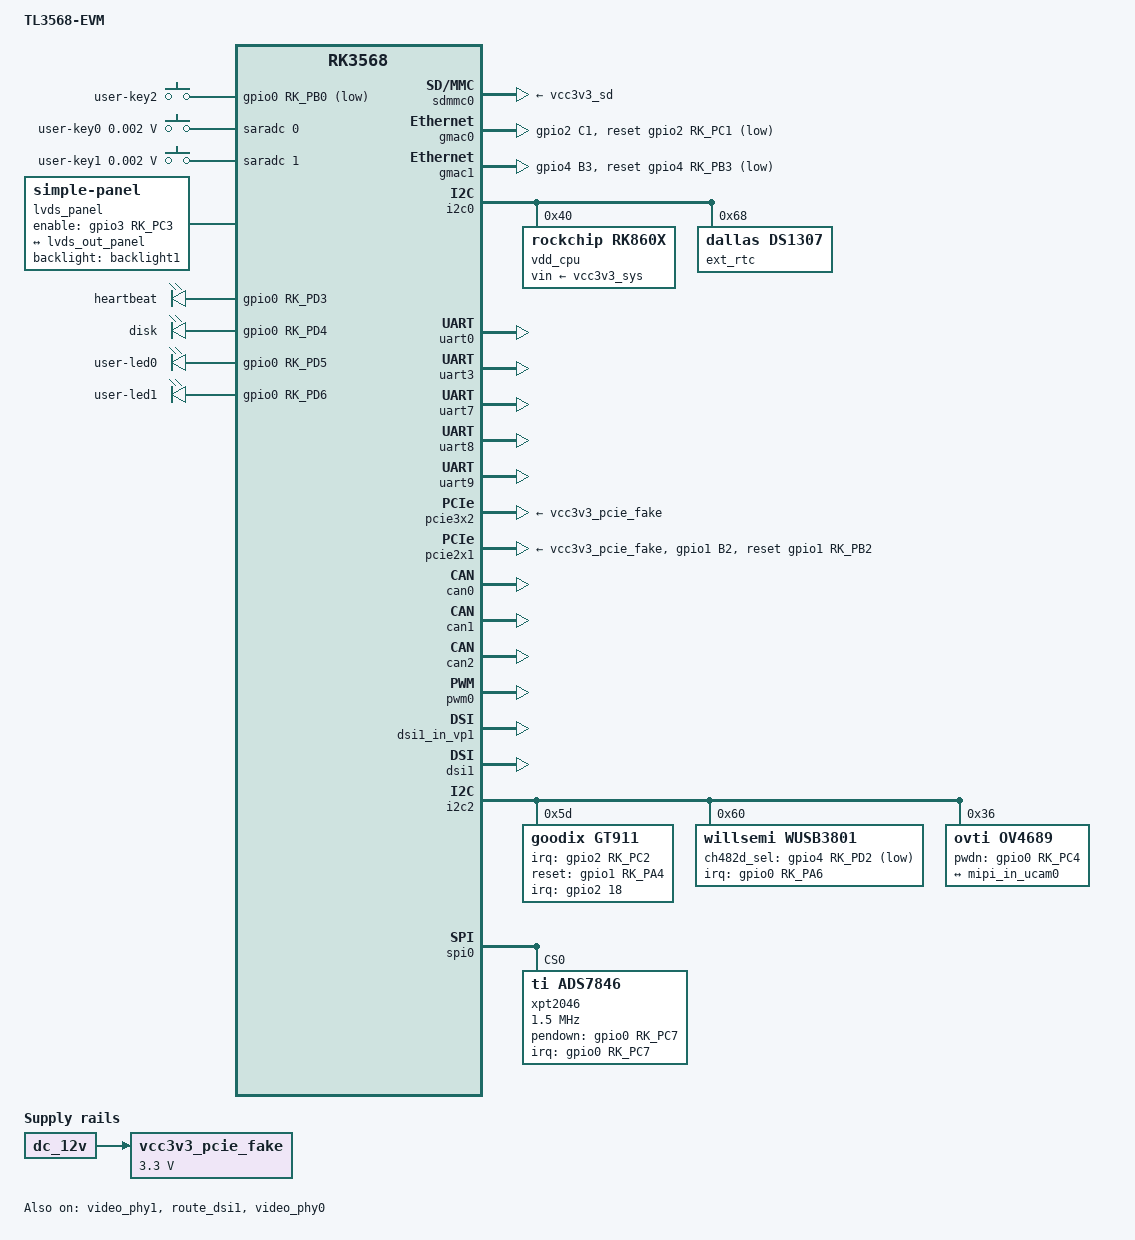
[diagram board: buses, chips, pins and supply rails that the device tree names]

#include "rk3568-evb1-ddr4-v10-linux.dts"
#include "rk3568-amp.dtsi"
#include <dt-bindings/display/media-bus-format.h>

/ {
	model = "TL3568-EVM";

	fiq-debugger {
		compatible = "rockchip,fiq-debugger";
		rockchip,serial-id = <2>;
		rockchip,wake-irq = <0>;

		rockchip,irq-mode-enable = <1>;
		rockchip,baudrate = <1500000>;
 	};

	/delete-node/ gpio-regulator;
	vcc3v3_pcie_fake: vcc3v3-pcie-fake {
		compatible = "regulator-fixed";
		regulator-name = "vcc3v3_pcie_fake";
		regulator-always-on;
		regulator-boot-on;
		regulator-min-microvolt = <3300000>;
		regulator-max-microvolt = <3300000>;
		vin-supply = <&dc_12v>;
	};

	gpio-keys {
		compatible = "gpio-keys";
		autorepeat;
		pinctrl-names = "default";
		pinctrl-0 = <&user_gpio_key0_pin>;

		user_key@2 {
			label = "user-key2";
			linux,code = <KEY_PROG1>;
			gpios = <&gpio0 RK_PB0 GPIO_ACTIVE_LOW>;
			debounce-interval = <0>;
		};
	};

	/delete-node/ adc-keys;
	adc-key0 {
		compatible = "adc-keys";
		io-channels = <&saradc 0>;
		io-channel-names = "buttons";
		keyup-threshold-microvolt = <1800000>;
		poll-interval = <100>;

		user_key@0 {
			label = "user-key0";
			linux,code = <KEY_PROG1>;
			press-threshold-microvolt = <1750>;
		};
	};

	adc-key1 {
		compatible = "adc-keys";
		io-channels = <&saradc 1>;
		io-channel-names = "buttons";
		keyup-threshold-microvolt = <1800000>;
		poll-interval = <100>;

		user_key@1 {
			label = "user-key1";
			linux,code = <KEY_PROG1>;
			press-threshold-microvolt = <1750>;
		};
	};

	lvds_panel: lvds-panel {
		status = "okay";
		compatible = "simple-panel";
		backlight = <&backlight1>;
		reset-delay-ms = <60>;
		enable-delay-ms = <60>;
		prepare-delay-ms = <60>;
		unprepare-delay-ms = <60>;
		disable-delay-ms = <60>;
		bus-format = <MEDIA_BUS_FMT_RGB888_1X24>;

		pinctrl-names = "default";
		pinctrl-0 = <&lvds_panel_enable>;
		enable-gpios = <&gpio3 RK_PC3 GPIO_ACTIVE_HIGH>;

		width-mm = <210>;
		height-mm = <157>;

		display-timings {
			native-mode = <&lvds_timing0>;
			lvds_timing0: lvds-timing0 {
				clock-frequency = <66000000>;
				hactive = <1024>;
				vactive = <768>;
				hback-porch = <160>;
				hfront-porch = <160>;
				hsync-len = <2>;
				vback-porch = <19>;
				vfront-porch = <19>;
				vsync-len = <2>;
				hsync-active = <1>;
				vsync-active = <1>;
				de-active = <1>;
				pixelclk-active = <0>;
			};
		};

		ports {
			#address-cells = <1>;
			#size-cells = <0>;

			port@0 {
				reg = <0>;
				panel_in_lvds: endpoint {
					remote-endpoint = <&lvds_out_panel>;
				};
			};
		};
	};

	/delete-node/ spdif-sound;
	/delete-node/ spdif-out;

	/* TFT-LCD */
	tft_lcd_panel: tft-lcd-panel {
		status = "disabled";
		compatible = "simple-panel";
		bus-format = <MEDIA_BUS_FMT_RGB888_1X24>;

		display-timings {
			native-mode = <&rgb_timing0>;

			rgb_timing0: rgb-timing0 {
				clock-frequency = <33000000>;
				hactive = <800>;
				vactive = <480>;
				hfront-porch = <210>;
				hsync-len = <30>;
				hback-porch = <16>;
				vfront-porch = <22>;
				vsync-len = <13>;
				vback-porch = <10>;
				hsync-active = <0>;
				vsync-active = <0>;
				de-active = <1>;
				pixelclk-active = <1>;
			};
		};

		port {
			panel_in_rgb: endpoint {
				remote-endpoint = <&rgb_out_panel>;
			};
		};
	};

	edp_panel: edp-panel {
		status = "disabled";
		compatible = "simple-panel";
		bus-format = <MEDIA_BUS_FMT_RGB888_1X24>;
		bpc = <8>;

		display-timings {
			native-mode = <&edp_timing0>;

			edp_timing0: edp-timing0 {
				clock-frequency = <264300000>;
				hactive = <2560>;
				vactive = <1600>;
				hfront-porch = <24>;
				hsync-len = <35>;
				hback-porch = <59>;
				vfront-porch = <3>;
				vsync-len = <6>;
				vback-porch = <49>;
				hsync-active = <0>;
				vsync-active = <1>;
				de-active = <1>;
				pixelclk-active = <1>;
			};
		};

		port {
			panel_in_edp: endpoint {
				remote-endpoint = <&edp_out_panel>;
			};
		};
	};
};

&vop {
    assigned-clocks = <&cru DCLK_VOP0>, <&cru DCLK_VOP1>, <&cru DCLK_VOP2>;
    assigned-clock-parents = <&cru PLL_HPLL>, <&cru PLL_VPLL>, <&cru PLL_GPLL>;
};

&pmu_io_domains {
	/* TL3568-EVM, open pmic sw0/1 */
	vccio4-supply = <&vcc_3v3>;
	vccio5-supply = <&vcc_3v3>;
	vccio6-supply = <&vcc_3v3>;
	vccio7-supply = <&vcc_3v3>;
};

&sdmmc0 {
	vmmc-supply = <&vcc3v3_sd>;
	/delete-property/ sd-uhs-sdr104; /* Do not support SD3.0 first, cause VDD_ADJ_SD ust be 3.3V */
	/delete-property/ no-sdio;
	/delete-property/ no-mmc;
	supports-sd;
};

&rgmii_phy1 {
	reg = <0x1>;
};

&gmac0 {
	snps,reset-gpio = <&gpio2 RK_PC1 GPIO_ACTIVE_LOW>;
	snps,reset-delays-us = <20000 20000 100000>;
	tx_delay = <0x2a>;
	rx_delay = <0x19>;

	/delete-property/ pinctrl-0;
	pinctrl-0 = <&gmac0_miim
		     &gmac0_tx_bus2
		     &gmac0_rx_bus2
		     &gmac0_rgmii_clk
		     &gmac0_rgmii_bus
		     &gmac0_phy0_reset>;
};

&i2c4 {
	/delete-property/ pinctrl-0;
	status = "disabled";
};

&gmac1 {
	snps,reset-gpio = <&gpio4 RK_PB3 GPIO_ACTIVE_LOW>;
	snps,reset-delays-us = <20000 20000 100000>;
	tx_delay = <0x36>;
	rx_delay = <0x12>;

	/delete-property/ pinctrl-0;
	pinctrl-0 = <&gmac1m1_miim
		     &gmac1m1_tx_bus2
		     &gmac1m1_rx_bus2
		     &gmac1m1_rgmii_clk
		     &gmac1m1_rgmii_bus
		     &gmac1_phy0_reset>;
};

&i2c0 {
	/delete-node/ tcs4525@1c;
	vdd_cpu: rk8600@40{
		compatible = "rockchip,rk860x";
		reg = <0x40>;
		vin-supply = <&vcc3v3_sys>;
		regulator-compatible = "rk860x-reg";
		regulator-name = "vdd_cpu";
		regulator-min-microvolt = <712500>;
		regulator-max-microvolt = <1390000>;
		regulator-init-microvolt = <900000>;
		regulator-initial-mode = <1>;
		regulator-ramp-delay = <2300>;
		rockchip,suspend-voltage-selector = <1>;
		regulator-boot-on;
		regulator-always-on;
		regulator-state-mem {
			regulator-off-in-suspend;
		};
	};

	ext_rtc: ds1307@68 {
		compatible = "dallas,ds1307";
		reg = <0x68>;
	};
};

/* flexspi */
&sfc {
	pinctrl-names = "default";
	pinctrl-0 = <&fspi_pins>;
};

&sdio_pwrseq {
	/delete-property/ clocks;
	/delete-property/ clock-names;
	status = "disabled";
};

/* sdio */
&sdmmc2 {
	max-frequency = <50000000>;
	/delete-property/ sd-uhs-sdr104;
	/delete-property/ no-sd;
	/delete-property/ no-mmc;
	supports-sdio;
};

&wifi_host_wake_irq {
	rockchip,pins = <4 RK_PB2 RK_FUNC_GPIO &pcfg_pull_down>;
};

/* sdio wifi io cannot share with 5G module */
&wireless_wlan {
	status = "disabled";
	wifi_chip_type = "rtl8189fs";
	WIFI,host_wake_irq = <&gpio4 RK_PB2 GPIO_ACTIVE_HIGH>;
};

&wireless_bluetooth {
	status = "disabled";
};

&vcc_camera {
	/delete-property/ gpio;
	/delete-property/ pinctrl-names;
	/delete-property/ pinctrl-0;
	/delete-property/ enable-active-high;
};

&uart0 {
	status = "okay";
};

&uart3 {
	status = "okay";
};

&spdif_8ch {
	status = "disabled";
	/delete-property/ pinctrl-names;
	/delete-property/ pinctrl-0;
};

&uart7 {
	status = "okay";
	pinctrl-0 = <&uart7m1_xfer>;
};

&uart8 {
	status = "okay";
	pinctrl-0 = <&uart8m0_xfer>;
};

&uart9 {
	status = "okay";
	pinctrl-0 = <&uart9m1_xfer>;
};

/* gpio1 RK_PA2 is used as i2s1 mclk */
&pcie3x2 {
	/delete-property/ reset-gpios;
	vpcie3v3-supply = <&vcc3v3_pcie_fake>;
};

/* sata2 and pcie2x1 use common phy */
&sata2 {
	status = "disabled";
};

&pcie2x1 {
	reset-gpios = <&gpio1 RK_PB2 GPIO_ACTIVE_HIGH>;
	pinctrl-names = "default";
	pinctrl-0 = <&pcie2x1_reset>;
	vpcie3v3-supply = <&vcc3v3_pcie_fake>;
	status = "okay";
};

/* gpio in vcc3v3_vga is used by user_led0 */
&vcc3v3_vga {
	/delete-property/ gpio;
	/delete-property/ enable-active-high;
};

&leds {
	/delete-node/ work;
	som_led0 {
		label = "heartbeat";
		gpios = <&gpio0 RK_PD3 GPIO_ACTIVE_HIGH>;
		linux,default-trigger = "heartbeat";
		default-state = "off";
	};

	som_led1 {
		label = "disk";
		gpios = <&gpio0 RK_PD4 GPIO_ACTIVE_HIGH>;
		linux,default-trigger = "mmc0";
		default-state = "off";
	};

	user_led0 {
		label = "user-led0";
		gpios = <&gpio0 RK_PD5 GPIO_ACTIVE_HIGH>;
		linux,default-trigger = "default-on";
		default-state = "off";
	};

	user_led1 {
		label = "user-led1";
		gpios = <&gpio0 RK_PD6 GPIO_ACTIVE_HIGH>;
		linux,default-trigger = "default-on";
		default-state = "off";
	};
};

&i2c1 {
	/delete-property/ pinctrl-0;
	status = "disabled";
};

&can0 {
	compatible = "rockchip,rk3568-can-2.0";
	assigned-clock-rates = <200000000>;
	pinctrl-0 = <&can0m0_pins>;
	status = "okay";
};

&can1 {
	compatible = "rockchip,rk3568-can-2.0";
	assigned-clock-rates = <200000000>;
	status = "okay";
};

&can2 {
	compatible = "rockchip,rk3568-can-2.0";
	assigned-clock-rates = <200000000>;
	status = "okay";
};

&pwm0 {
	status = "okay";
};

&edp_in_vp0 {
	status = "disabled";
};

&edp {
	status = "disabled";
	pinctrl-names = "default";
	pinctrl-0 = <&edpdpm0_pins>;
	hpd-gpios = <&gpio4 RK_PC4 GPIO_ACTIVE_HIGH>;

	ports {
		port@1 {
			reg = <1>;

			edp_out_panel: endpoint {
				remote-endpoint = <&panel_in_edp>;
			};
		};
	};
};

/*
 * video_phy0 needs to be enabled
 * when dsi0 is enabled
 */
&dsi0_in_vp0 {
	status = "disabled";
};

&dsi0_in_vp1 {
	status = "disabled";
};

&dsi0 {
	status = "disabled";
};

&dsi0_panel {
	status = "disabled";
};

&backlight {
	status = "disabled";
};

/*
 * video_phy1 needs to be enabled
 * when dsi1 is enabled
 */
&vcc3v3_lcd1_n {
	/delete-property/ enable-active-high;
	/delete-property/ gpio;
};

&dsi1_in_vp0 {
	status = "disabled";
};

&dsi1_in_vp1 {
	status = "okay";
};

&video_phy1 {
	status = "okay";
};

&dsi1 {
	status = "okay";
};

&backlight1 {
	pwms = <&pwm4 0 25000 0>;
};

&route_dsi0 {
	status = "disabled";
};

&route_dsi1 {
	status = "okay";
	connect = <&vp1_out_dsi1>;
};

&dsi1_panel {
	status = "okay";
	pinctrl-names = "default";
	pinctrl-0 = <&dsi1_panel_reset>;
	reset-gpios = <&gpio4 RK_PC1 GPIO_ACTIVE_LOW>;

	/delete-property/ panel-init-sequence;
	panel-init-sequence = [
		05 1E 01 01
		23 00 02 EE 50
		29 00 03 EA 85 55
		23 00 02 30 00
		23 00 02 31 00
		29 00 03 90 50 15
		23 00 02 24 20
		23 00 02 99 00
		23 00 02 79 00
		23 00 02 95 74
		23 00 02 7A 20
		23 00 02 97 09
		23 00 02 7D 08
		23 00 02 56 83
		23 00 02 EE 60
		23 00 02 30 01
		23 00 02 27 22
		23 00 02 31 0F
		23 00 02 32 D9
		23 00 02 33 C0
		23 00 02 34 1F
		23 00 02 35 22
		23 00 02 36 00
		23 00 02 37 00
		23 00 02 3A 24
		23 00 02 3B 00
		23 00 02 3C 1A
		23 00 02 3D 11
		23 00 02 3E 93
		23 00 02 42 64
		23 00 02 43 64
		23 00 02 44 0B
		23 00 02 46 4E
		23 00 02 8B 90
		23 00 02 8D 45
		23 00 02 91 11
		23 00 02 92 11
		23 00 02 93 9F
		23 00 02 9A 00
		23 00 02 9C 80
		29 00 06 47 0F 24 2C 39 36
		29 00 06 5A 0F 24 2C 39 36
		29 00 06 4C 4A 40 51 31 2F
		29 00 06 51 2D 10 25 1F 30
		29 00 05 56 37 46 5B 7F
		29 00 05 69 37 46 5B 7F
		23 00 02 EE 70
		29 00 05 00 03 07 00 01
		29 00 05 04 08 0C 55 01
		29 00 03 0C 05 3D
		29 00 06 10 05 08 00 01 05
		29 00 06 15 00 15 0D 08 00
		29 00 03 29 05 3D
		29 00 06 60 3C 3C 07 05 17
		29 00 06 65 15 13 11 01 03
		29 00 06 6A 3C 3C 3C 3C 3C
		29 00 06 6F 3C 3C 3C 3C 3C
		29 00 03 74 3C 3C
		29 00 06 80 3C 3C 06 04 16
		29 00 06 85 14 12 10 00 02
		29 00 06 8A 3C 3C 3C 3C 3C
		29 00 06 8F 3C 3C 3C 3C 3C
		29 00 03 94 3C 3C
		29 00 03 EA 00 00
		23 00 02 EE 00
		05 78 01 11
		05 1E 01 29
	];
};

&dsi1_timing0 {
	clock-frequency = <72000000>;
	hactive = <800>;
	vactive = <1280>;
	hfront-porch = <98>;
	hsync-len = <20>;
	hback-porch = <22>;
	vfront-porch = <24>;
	vsync-len = <8>;
	vback-porch = <8>;
	hsync-active = <0>;
	vsync-active = <0>;
	de-active = <0>;
	pixelclk-active = <1>;
};

&os04a10 {
	status = "disabled";
};

&ucam_out0 {
	/delete-property/ remote-endpoint;
};

&ov5695 {
	status = "disabled";
};

&i2c2 {
	status = "okay";
	pinctrl-0 = <&i2c2m1_xfer>;

	gt911@5d {
		pinctrl-names = "default";
		pinctrl-0 = <&gt911_int_pin
				&gt911_rst_pin>;

		compatible = "goodix,gt911";
		reg = <0x5d>;
		interrupt-parent = <&gpio2>;
		interrupts = <18 0>;

		irq-gpios = <&gpio2 RK_PC2 0>;
		reset-gpios = <&gpio1 RK_PA4 GPIO_ACTIVE_HIGH>;
	};

	wusb3801: tcpc@60 {
		status = "okay";
		compatible = "willsemi,wusb3801";
		reg = <0x60>;
		pinctrl-names = "default";
		pinctrl-0 = <&wusb3801_int_pin &ch482d_sel_pin>;
		interrupt-parent = <&gpio0>;
		interrupts = <RK_PA6 IRQ_TYPE_LEVEL_LOW>;
		ch482d_sel-gpios = <&gpio4 RK_PD2 GPIO_ACTIVE_LOW>;
	};

	ov4689: ov4689@36 {
		compatible = "ovti,ov4689";
		status = "okay";
		reg = <0x36>;
		clocks = <&pmucru CLK_WIFI>;
		clock-names = "xvclk";
		pinctrl-names = "rockchip,camera_default";
		pinctrl-0 = <&refclk_pins &mipi_cam_pwdn_pins>;
		pwdn-gpios = <&gpio0 RK_PC4 GPIO_ACTIVE_HIGH>;
		rockchip,grf = <&grf>;
		power-domains = <&power RK3568_PD_VI>;
		rockchip,camera-module-index = <0>;
		rockchip,camera-module-facing = "back";
		rockchip,camera-module-name = "RK-CMK-8M-2-v1";
		rockchip,camera-module-lens-name = "CK8401";

		port {
			ov4689_out: endpoint {
				remote-endpoint = <&mipi_in_ucam0>;
				data-lanes = <1 2 3 4>;
			};
		};
	};
};

/* lvds */
&lvds_in_vp2 {
	status = "disabled";
};

&lvds {
	status = "disabled";
	ports {
		port@1 {
			reg = <1>;

			lvds_out_panel: endpoint {
				remote-endpoint = <&panel_in_lvds>;
			};
		};
	};
};

&video_phy0 {
	status = "okay";
};

&route_lvds {
	status = "disabled";
	connect = <&vp2_out_lvds>;
};

&pwm7 {
	status = "disabled";
};

&vcc3v3_lcd0_n {
	/delete-property/ enable-active-high;
	/delete-property/ gpio;
};

/* lvds touch panel driver ic */
&spi0 {
	pinctrl-names = "default";
	pinctrl-0 = <&spi0m0_cs0 &spi0m0_pins>;
	status = "okay";

	xpt2046@0 {
		pinctrl-names = "default";
		pinctrl-0 = <&xpt2046_int_pin>;
		reg = <0>;
		compatible = "ti,ads7846";
		interrupt-parent = <&gpio0>;
		interrupts = <RK_PC7 0>;
		spi-max-frequency = <1500000>;
		pendown-gpio = <&gpio0 RK_PC7 0>;
		ti,x-min = /bits/ 16 <0>;
		ti,x-max = /bits/ 16 <0xfff>;
		ti,y-min = /bits/ 16 <0>;
		ti,y-max = /bits/ 16 <0xfff>;
		ti,x-plate-ohms = /bits/ 16 <180>;
		ti,pressure-max = /bits/ 16 <512>;
		ti,debounce-max = /bits/ 16 <10>;
		ti,debounce-tol = /bits/ 16 <30>;
		ti,debounce-rep = /bits/ 16 <1>;
		ti,settle-delay-usec = /bits/ 16 <150>;
		ti,keep-vref-on = <1>;
		/*
		 * Do not set to wakeup source,
		 * cause TL3568-EVM board will make xpt2046
		 * int pin level change when suspend, this
		 * will auto resume TL3568-EVM board.
		 */
		/delete-property/ linux,wakeup;
		/delete-property/ wakeup-source;
	};
};

/* gpio is used for wusb3801 */
&vcc5v0_host {
       /delete-property/ enable-active-high;
       /delete-property/ gpio;
       /delete-property/ pinctrl-names;
       /delete-property/ pinctrl-0;
};

&rk809_codec {
	pinctrl-0 = <&i2s1m0_mclk>;
	spk-volume = <3>;
	capture-volume = <0>;
};

/* TFT LCD */
&rgb_in_vp2 {
	status = "disabled";
};

&rgb {
	status = "disabled";

	ports {
		port@1 {
			reg = <1>;

			rgb_out_panel: endpoint {
				remote-endpoint = <&panel_in_rgb>;
			};
		};
	};
};

&rk809_sound {
	/delete-property/ simple-audio-card,hp-det-gpio;
};

&mipi_in_ucam0 {
	remote-endpoint = <&ov4689_out>;
};

&sdhci {
	pinctrl-names = "default";
	pinctrl-0 = <&emmc_bus8
			&emmc_cmd
			&emmc_clk>;
	/delete-property/ no-sdio;
	/delete-property/ no-sd;
	supports-emmc;
};

/*
 * Change mipi csi clk pin drv level to level2,
 * this is decided by the hardware engineer.
 */
&refclk_pins {
	rockchip,pins =
		/* refclk_ou */
		<0 RK_PA0 1 &pcfg_pull_up_drv_level_2>;
};

&threshold {
	temperature = <115000>;
};

&target {
	temperature = <115000>;
};

&i2c5 {
	status = "disabled";
	/delete-node/ mxc6655xa@15;
};

&rockchip_amp {
	clocks = <&pmucru SCLK_UART0>, <&pmucru PCLK_UART0>,
		<&cru SCLK_UART7>, <&cru PCLK_UART7>,
		<&cru PCLK_TIMER>, <&cru CLK_TIMER4>, <&cru CLK_TIMER5>,
		<&pmucru PCLK_GPIO0>, <&pmucru DBCLK_GPIO0>;
	clock-names = "uart0_baudclk", "uart0_apb_pclk",
		"uart7_baudclk", "uart7_apb_pclk",
		"pclk", "timer4", "timer5",
		"gpio0_pclk", "gpio0_dbclk";
	assigned-clocks = <&pmucru SCLK_UART0>,
			<&cru SCLK_UART7>,
			<&cru CLK_TIMER4>,
			<&cru CLK_TIMER5>,
			<&pmucru DBCLK_GPIO0>;

	/delete-property/ pinctrl-names;
	/delete-property/ pinctrl-0;

	/delete-node/ amp-cpus;
};

&reserved_memory {
	amp_core0_mem_reserved: amp-core0-mem@3800000 {
		reg = <0x0 0x03800000 0x0 0x00800000>;
		no-map;
	};
	amp_core1_mem_reserved: amp-core1-mem@2000000 {
		reg = <0x0 0x02000000 0x0 0x00800000>;
		no-map;
	};
	amp_core2_mem_reserved: amp-core2-mem@2800000 {
		reg = <0x0 0x02800000 0x0 0x00800000>;
		no-map;
	};
	amp_core3_mem_reserved: amp-core3-mem@3000000 {
		reg = <0x0 0x03000000 0x0 0x00800000>;
		no-map;
	};
};

&cpu0_opp_table {
	opp-1416000000 {
		opp-hz = /bits/ 64 <1416000000>;
		opp-microvolt = <900000 900000 900000>;
		clock-latency-ns = <40000>;
	};
	opp-1608000000 {
		status = "disabled";
	};
	opp-1800000000 {
		status = "disabled";
	};
	opp-1992000000 {
		status = "disabled";
	};
};

&npu_opp_table {
	opp-700000000 {
		status = "disabled";
	};
	opp-800000000 {
		status = "disabled";
	};
	opp-900000000 {
		status = "disabled";
	};
	opp-1000000000 {
		status = "disabled";
	};

};

&gpu_opp_table {
	opp-550000000 {
		opp-hz = /bits/ 64 <550000000>;
		opp-microvolt = <900000 900000 1000000>;
	};

	opp-600000000 {
		status = "disabled";
	};
	opp-600000000 {
		status = "disabled";
	};
	opp-700000000 {
		status = "disabled";
	};
	opp-800000000 {
		status = "disabled";
	};
};

&pinctrl {
	pinctrl-names = "default";
	pinctrl-0 = <&rm500q_power
			&rm500q_reset
			&ext_wdt_wdi
			&ext_wdt_set
			&usb_net_reset /* GPIO3_D4 is used to usb net reset pin operating in uboot */
			&heartbeat_led_pin
			&disk_led_pin
			&user_led0_pin
			&user_led1_pin>;

	gmac0-phy-reset {
		gmac0_phy0_reset: gmac0-phy0-reset {
			rockchip,pins = <2 RK_PC1 RK_FUNC_GPIO &pcfg_pull_none>;
		};
	};

	gmac1-phy-reset {
		gmac1_phy0_reset: gmac1-phy0-reset {
			rockchip,pins = <4 RK_PB3 RK_FUNC_GPIO &pcfg_pull_none>;
		};
	};

	pcie3x2-perstn {
		pcie3x2_reset: pcie3x2-reset {
			rockchip,pins = <1 RK_PA2 RK_FUNC_GPIO &pcfg_pull_none>;
		};
	};

	pcie2x1-perstn {
		pcie2x1_reset: pcie2x1-reset {
			rockchip,pins = <1 RK_PB2 RK_FUNC_GPIO &pcfg_pull_none>;
		};
	};

	gpio-leds {
		heartbeat_led_pin: heartbeat-led-pin {
			rockchip,pins = <0 RK_PD3 RK_FUNC_GPIO &pcfg_pull_none>;
		};
		disk_led_pin: disk-led-pin {
			rockchip,pins = <0 RK_PD4 RK_FUNC_GPIO &pcfg_pull_none>;
		};
		user_led0_pin: user-led0-pin {
			rockchip,pins = <0 RK_PD5 RK_FUNC_GPIO &pcfg_pull_none>;
		};
		user_led1_pin: user-led1-pin {
			rockchip,pins = <0 RK_PD6 RK_FUNC_GPIO &pcfg_pull_none>;
		};
	};

	gpio-keys {
		user_gpio_key0_pin: user-gpio-key0-pin {
			rockchip,pins = <0 RK_PB0 RK_FUNC_GPIO &pcfg_pull_none>;
		};
	};

	rm500q-module {
		rm500q_power: rm500q-power {
			rockchip,pins = <3 RK_PD5 RK_FUNC_GPIO &pcfg_pull_up>;
		};
		rm500q_reset: rm500q-reset {
			rockchip,pins = <4 RK_PB2 RK_FUNC_GPIO &pcfg_pull_down>;
		};
	};

	ext_wdt {
		ext_wdt_wdi: ext-wdt-wdi {
			rockchip,pins = <0 RK_PC2 RK_FUNC_GPIO &pcfg_pull_up>;
		};
		ext_wdt_set: ext-wdt-set {
			rockchip,pins = <4 RK_PC0 RK_FUNC_GPIO &pcfg_pull_none>;
		};
	};

	typec_swsel {
		typec_swsel_pin: typec-swsel-pin {
			rockchip,pins = <4 RK_PD2 RK_FUNC_GPIO &pcfg_pull_none>;
		};
	};

	dsi1_panel {
		dsi1_panel_reset: dsi1-panel-reset {
			rockchip,pins = <4 RK_PC1 RK_FUNC_GPIO &pcfg_pull_none>;
		};
	};

	lvds_panel {
		lvds_panel_enable: lvds-panel-enable {
			rockchip,pins = <3 RK_PC3 RK_FUNC_GPIO &pcfg_pull_none>;
		};
	};

	mipi_panel_tp {
		gt911_int_pin: gt911-int-pin {
			rockchip,pins = <2 RK_PC2 RK_FUNC_GPIO &pcfg_pull_none>;
		};
		gt911_rst_pin: gt911-rst-pin {
			rockchip,pins = <1 RK_PA4 RK_FUNC_GPIO &pcfg_pull_none>;
		};
	};

	lvds_panel_tp {
		xpt2046_int_pin: xpt2046-int-pin {
			rockchip,pins = <0 RK_PC7 RK_FUNC_GPIO &pcfg_pull_none>;
		};
	};

	wusb3801 {
		wusb3801_int_pin: wusb3801-int-pin {
			rockchip,pins = <0 RK_PA6 RK_FUNC_GPIO &pcfg_pull_none>;
		};
		ch482d_sel_pin: ch482d-sel-pin {
			rockchip,pins = <4 RK_PD2 RK_FUNC_GPIO &pcfg_pull_none>;
		};
	};

	mipi_cam_pwdn {
		mipi_cam_pwdn_pins: mipi-cam-pwdn-pins {
			rockchip,pins = <0 RK_PC4 RK_FUNC_GPIO &pcfg_pull_up>;
		};
	};

	usb_net_ctrl {
		usb_net_reset: usb-net-reset {
			rockchip,pins = <3 RK_PD4 RK_FUNC_GPIO &pcfg_pull_none>;
		};
	};
};
